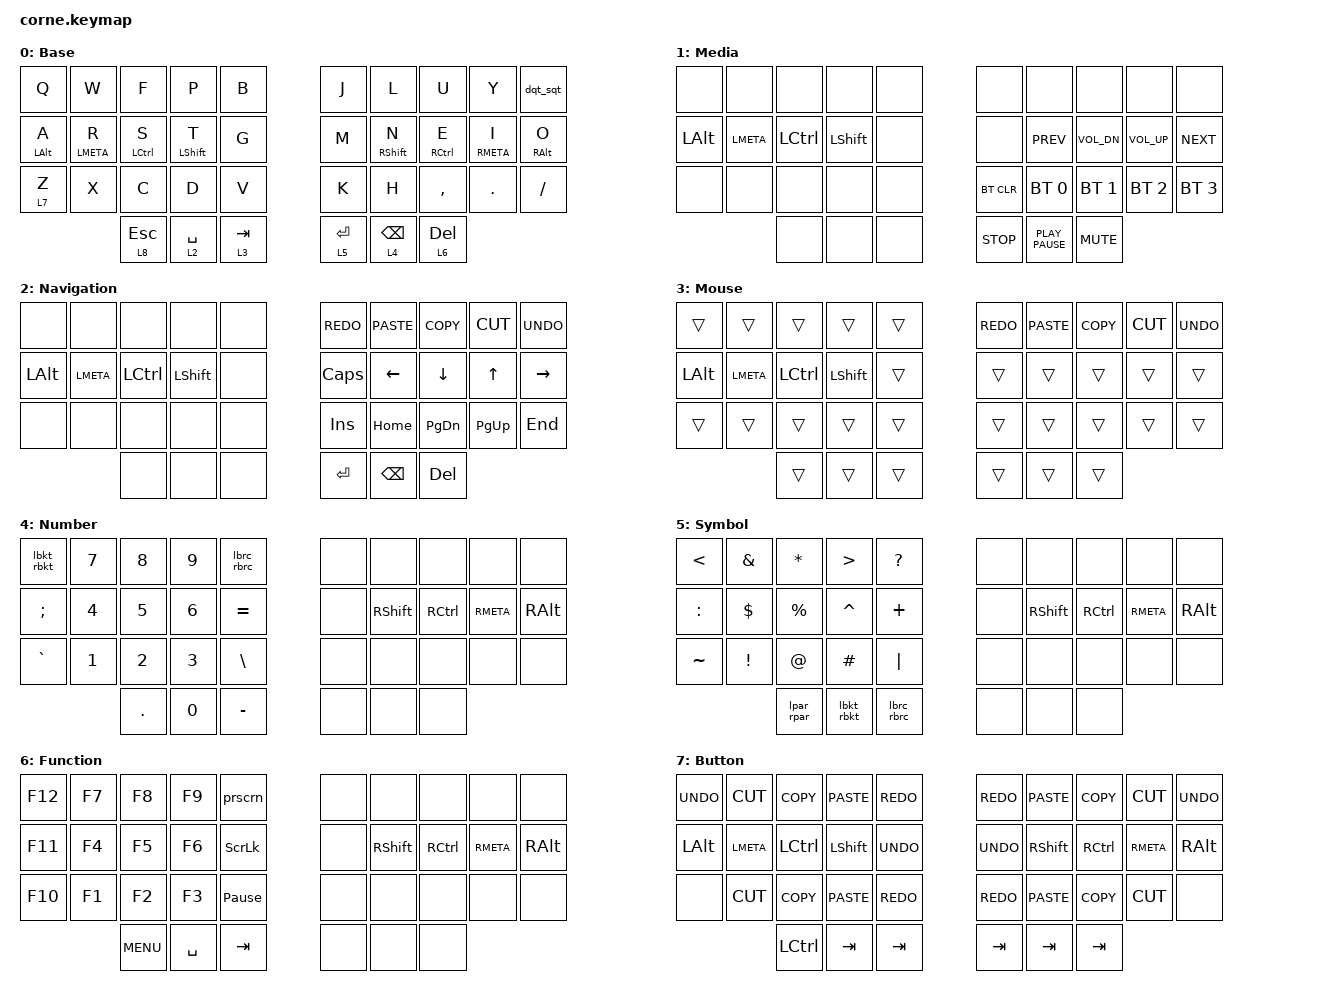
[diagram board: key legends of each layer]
// vim: set syntax=c:
/*
 * Copyright (c) 2020 The ZMK Contributors
 *
 * SPDX-License-Identifier: MIT
 */

#include <behaviors.dtsi>
#include <dt-bindings/zmk/bt.h>
#include <dt-bindings/zmk/keys.h>

#define DEFAULT_L 0
#define SYMBOLS_L 1
#define ARROWS_L  2
#define NUMBERS_L 3

/ {
    chosen {
        zmk,matrix_transform = &five_column_transform;
    };

    behaviors {
        hm: homerow_mods {
            compatible = "zmk,behavior-hold-tap";
            label = "HOMEROW_MODS";
            #binding-cells = <2>;
            tapping-term-ms = <220>;
            quick-tap-ms = <0>;
            flavor = "tap-preferred";
            bindings = <&kp>, <&kp>;
        };


        lpar_rpar: lpar_rpar {
            compatible = "zmk,behavior-mod-morph";
            label = "LPAR_RPAR";
            #binding-cells = <0>;
            bindings =
                <&kp LEFT_PARENTHESIS>,
                <&kp RIGHT_PARENTHESIS>;

            mods = <(MOD_LSFT|MOD_RSFT)>;
        };
        lbkt_rbkt: lbkt_rbkt {
            compatible = "zmk,behavior-mod-morph";
            label = "LBKT_RBKT";
            #binding-cells = <0>;
            bindings =
                <&kp LEFT_BRACKET>,
                <&kp RIGHT_BRACKET>;

            mods = <(MOD_LSFT|MOD_RSFT)>;
        };
        lbrc_rbrc: lbrc_rbrc {
            compatible = "zmk,behavior-mod-morph";
            label = "LBRC_RBRC";
            #binding-cells = <0>;
            bindings =
                <&kp LEFT_BRACE>,
                <&kp RIGHT_BRACE>;

            mods = <(MOD_LSFT|MOD_RSFT)>;
        };
        dqt_sqt: dqt_sqt {
            compatible = "zmk,behavior-mod-morph";
            label = "dqt_sqt";
            #binding-cells = <0>;
            bindings =
                <&kp DQT>,
                <&kp SQT>;

            mods = <(MOD_LSFT|MOD_RSFT)>;
        };
        dot_comma: dot_comma {
            compatible = "zmk,behavior-mod-morph";
            label = "dot_comma";
            #binding-cells = <0>;
            bindings =
                <&kp DOT>,
                <&kp COMMA>;

            mods = <(MOD_LSFT|MOD_RSFT)>;
        };
        voldn_volup: voldn_volup {
            compatible = "zmk,behavior-mod-morph";
            label = "voldn_volup";
            #binding-cells = <0>;
            bindings =
                <&kp K_VOL_DN>,
                <&kp K_VOL_UP>;

            mods = <(MOD_LSFT|MOD_RSFT)>;
        };
        bridn_briup: bridn_briup {
            compatible = "zmk,behavior-mod-morph";
            label = "bridn_briup";
            #binding-cells = <0>;
            bindings =
                <&kp C_BRI_DN>,
                <&kp C_BRI_UP>;

            mods = <(MOD_LSFT|MOD_RSFT)>;
        };
        lang_rang: lang_rang {
            compatible = "zmk,behavior-mod-morph";
            label = "lang_rang";
            #binding-cells = <0>;
            bindings =
                <&kp LESS_THAN>,
                <&kp GREATER_THAN>;

            mods = <(MOD_LSFT|MOD_RSFT)>;
        };
        prscrn: prscrn {
            compatible = "zmk,behavior-mod-morph";
            label = "PRSCRN";
            bindings =
                <&kp PRINTSCREEN>,
                <&kp LG(PRINTSCREEN)>;

            #binding-cells = <0>;
            mods = <(MOD_LSFT|MOD_RSFT)>;
        };
    };

    combos {
        compatible = "zmk,combos";
    };

    keymap {
        compatible = "zmk,keymap";

        Base {
            bindings = <
       &kp Q        &kp W         &kp F         &kp P      &kp B          &kp J            &kp L        &kp U        &kp Y    &dqt_sqt
  &hm LALT A  &hm LMETA R   &hm LCTRL S  &hm LSHIFT T      &kp G          &kp M     &hm RSHIFT N  &hm RCTRL E  &hm RMETA I  &hm RALT O
     &lt 7 Z        &kp X         &kp C         &kp D      &kp V          &kp K            &kp H    &kp COMMA      &kp DOT    &kp FSLH
                           &lt 8 ESCAPE   &lt 2 SPACE  &lt 3 TAB    &lt 5 ENTER  &lt 4 BACKSPACE    &lt 6 DEL
            >;
        };

        Media {
            bindings = <
     &none      &none      &none       &none  &none         &none             &none         &none         &none         &none
  &kp LALT  &kp LMETA  &kp LCTRL  &kp LSHIFT  &none         &none        &kp K_PREV  &kp K_VOL_DN  &kp K_VOL_UP    &kp K_NEXT
     &none      &none      &none       &none  &none    &bt BT_CLR      &bt BT_SEL 0  &bt BT_SEL 1  &bt BT_SEL 2  &bt BT_SEL 3
                           &none       &none  &none    &kp K_STOP  &kp K_PLAY_PAUSE    &kp K_MUTE
            >;
        };

        Navigation {
            bindings = <
     &none      &none      &none       &none  &none    &kp K_REDO    &kp K_PASTE  &kp K_COPY  &kp K_CUT  &kp K_UNDO
  &kp LALT  &kp LMETA  &kp LCTRL  &kp LSHIFT  &none      &kp CAPS       &kp LEFT    &kp DOWN     &kp UP   &kp RIGHT
     &none      &none      &none       &none  &none    &kp INSERT       &kp HOME   &kp PG_DN  &kp PG_UP     &kp END
                           &none       &none  &none     &kp ENTER  &kp BACKSPACE     &kp DEL
            >;
        };

        Mouse {
            bindings = <
    &trans     &trans     &trans      &trans  &trans    &kp K_REDO  &kp K_PASTE  &kp K_COPY  &kp K_CUT  &kp K_UNDO
  &kp LALT  &kp LMETA  &kp LCTRL  &kp LSHIFT  &trans        &trans       &trans      &trans     &trans      &trans
    &trans     &trans     &trans      &trans  &trans        &trans       &trans      &trans     &trans      &trans
                          &trans      &trans  &trans        &trans       &trans      &trans
            >;
        };

        Number {
            bindings = <
  &lbkt_rbkt  &kp N7   &kp N8  &kp N9  &lbrc_rbrc    &none      &none      &none      &none     &none
    &kp SEMI  &kp N4   &kp N5  &kp N6   &kp EQUAL    &none  &kp RSHFT  &kp RCTRL  &kp RMETA  &kp RALT
   &kp GRAVE  &kp N1   &kp N2  &kp N3    &kp BSLH    &none      &none      &none      &none     &none
                      &kp DOT  &kp N0   &kp MINUS    &none      &none      &none
            >;
        };

        Symbol {
            bindings = <
     &kp LT  &kp AMPS    &kp STAR      &kp GT  &kp QUESTION    &none      &none      &none      &none     &none
  &kp COLON  &kp DLLR   &kp PRCNT   &kp CARET      &kp PLUS    &none  &kp RSHFT  &kp RCTRL  &kp RMETA  &kp RALT
  &kp TILDE  &kp EXCL      &kp AT   &kp POUND      &kp PIPE    &none      &none      &none      &none     &none
                       &lpar_rpar  &lbkt_rbkt    &lbrc_rbrc    &none      &none      &none
            >;
        };

        Function {
            bindings = <
  &kp F12  &kp F7      &kp F8     &kp F9          &prscrn    &none      &none      &none      &none     &none
  &kp F11  &kp F4      &kp F5     &kp F6   &kp SCROLLLOCK    &none  &kp RSHFT  &kp RCTRL  &kp RMETA  &kp RALT
  &kp F10  &kp F1      &kp F2     &kp F3  &kp PAUSE_BREAK    &none      &none      &none      &none     &none
                   &kp K_MENU  &kp SPACE          &kp TAB    &none      &none      &none
            >;
        };

        Button {
            bindings = <
  &kp K_UNDO  &kp K_CUT  &kp K_COPY  &kp K_PASTE  &kp K_REDO    &kp K_REDO  &kp K_PASTE  &kp K_COPY  &kp K_CUT  &kp K_UNDO
    &kp LALT  &kp LMETA   &kp LCTRL   &kp LSHIFT  &kp K_UNDO    &kp K_UNDO    &kp RSHFT   &kp RCTRL  &kp RMETA    &kp RALT
       &none  &kp K_CUT  &kp K_COPY  &kp K_PASTE  &kp K_REDO    &kp K_REDO  &kp K_PASTE  &kp K_COPY  &kp K_CUT       &none
                          &kp LCTRL      &kp TAB     &kp TAB       &kp TAB      &kp TAB     &kp TAB
            >;
        };
    };
};
